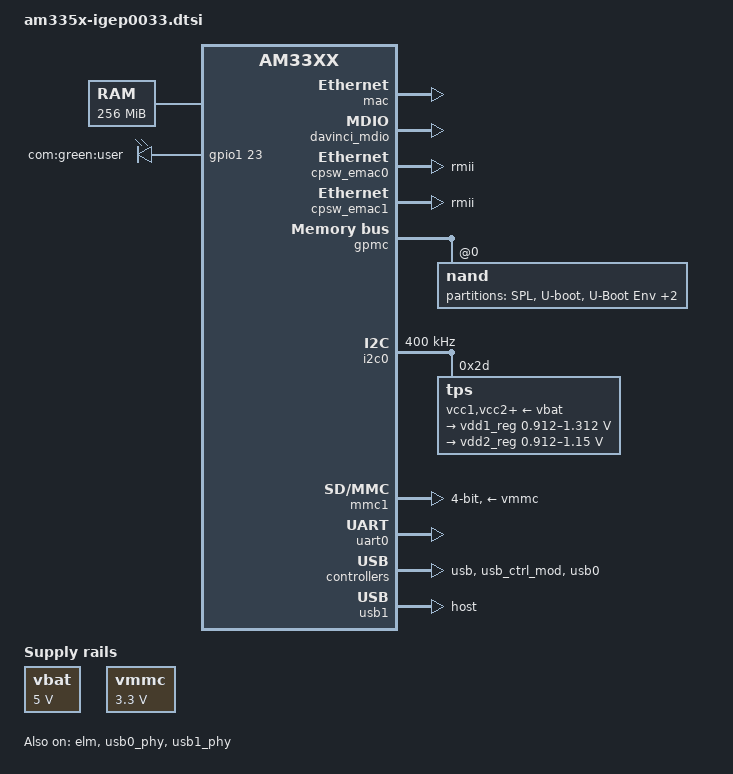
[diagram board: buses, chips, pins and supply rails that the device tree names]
/*
 * am335x-igep0033.dtsi - Device Tree file for IGEP COM AQUILA AM335x
 *
 * Copyright (C) 2013 ISEE 2007 SL - http://www.isee.biz
 *
 * This program is free software; you can redistribute it and/or modify
 * it under the terms of the GNU General Public License version 2 as
 * published by the Free Software Foundation.
 */

/dts-v1/;

#include "am33xx.dtsi"

/ {
	cpus {
		cpu@0 {
			cpu0-supply = <&vdd1_reg>;
		};
	};

	memory {
		device_type = "memory";
		reg = <0x80000000 0x10000000>; /* 256 MB */
	};

	leds {
		pinctrl-names = "default";
		pinctrl-0 = <&leds_pins>;

		compatible = "gpio-leds";

		led@0 {
			label = "com:green:user";
			gpios = <&gpio1 23 GPIO_ACTIVE_HIGH>;
			default-state = "on";
		};
	};

	vbat: fixedregulator@0 {
		compatible = "regulator-fixed";
		regulator-name = "vbat";
		regulator-min-microvolt = <5000000>;
		regulator-max-microvolt = <5000000>;
		regulator-boot-on;
	};

	vmmc: fixedregulator@0 {
		compatible = "regulator-fixed";
		regulator-name = "vmmc";
		regulator-min-microvolt = <3300000>;
		regulator-max-microvolt = <3300000>;
	};
};

&am33xx_pinmux {
	i2c0_pins: pinmux_i2c0_pins {
		pinctrl-single,pins = <
			0x188 (PIN_INPUT_PULLUP | MUX_MODE0)	/* i2c0_sda.i2c0_sda */
			0x18c (PIN_INPUT_PULLUP | MUX_MODE0)	/* i2c0_scl.i2c0_scl */
		>;
	};

	nandflash_pins: pinmux_nandflash_pins {
		pinctrl-single,pins = <
			0x0 (PIN_INPUT_PULLUP | MUX_MODE0)	/* gpmc_ad0.gpmc_ad0 */
			0x4 (PIN_INPUT_PULLUP | MUX_MODE0)	/* gpmc_ad1.gpmc_ad1 */
			0x8 (PIN_INPUT_PULLUP | MUX_MODE0)	/* gpmc_ad2.gpmc_ad2 */
			0xc (PIN_INPUT_PULLUP | MUX_MODE0)	/* gpmc_ad3.gpmc_ad3 */
			0x10 (PIN_INPUT_PULLUP | MUX_MODE0)	/* gpmc_ad4.gpmc_ad4 */
			0x14 (PIN_INPUT_PULLUP | MUX_MODE0)	/* gpmc_ad5.gpmc_ad5 */
			0x18 (PIN_INPUT_PULLUP | MUX_MODE0)	/* gpmc_ad6.gpmc_ad6 */
			0x1c (PIN_INPUT_PULLUP | MUX_MODE0)	/* gpmc_ad7.gpmc_ad7 */
			0x70 (PIN_INPUT_PULLUP | MUX_MODE0)	/* gpmc_wait0.gpmc_wait0 */
			0x74 (PIN_INPUT_PULLUP | MUX_MODE7)	/* gpmc_wpn.gpio0_30 */
			0x7c (PIN_OUTPUT | MUX_MODE0)		/* gpmc_csn0.gpmc_csn0 */
			0x90 (PIN_OUTPUT | MUX_MODE0)		/* gpmc_advn_ale.gpmc_advn_ale */
			0x94 (PIN_OUTPUT | MUX_MODE0)		/* gpmc_oen_ren.gpmc_oen_ren */
			0x98 (PIN_OUTPUT | MUX_MODE0)		/* gpmc_wen.gpmc_wen */
			0x9c (PIN_OUTPUT | MUX_MODE0)		/* gpmc_be0n_cle.gpmc_be0n_cle */
		>;
	};

	uart0_pins: pinmux_uart0_pins {
		pinctrl-single,pins = <
			0x170 (PIN_INPUT_PULLUP | MUX_MODE0)	/* uart0_rxd.uart0_rxd */
			0x174 (PIN_OUTPUT_PULLDOWN | MUX_MODE0)	/* uart0_txd.uart0_txd */
		>;
	};

	leds_pins: pinmux_leds_pins {
		pinctrl-single,pins = <
			0x5c (PIN_OUTPUT_PULLDOWN | MUX_MODE7)	/* gpmc_a7.gpio1_23 */
		>;
	};
};

&mac {
	status = "okay";
};

&davinci_mdio {
	status = "okay";
};

&cpsw_emac0 {
	phy_id = <&davinci_mdio>, <0>;
	phy-mode = "rmii";
};

&cpsw_emac1 {
	phy_id = <&davinci_mdio>, <1>;
	phy-mode = "rmii";
};

&phy_sel {
	rmii-clock-ext;
};

&elm {
	status = "okay";
};

&gpmc {
	status = "okay";
	pinctrl-names = "default";
	pinctrl-0 = <&nandflash_pins>;

	ranges = <0 0 0x08000000 0x1000000>;	/* CS0: 16MB for NAND */

	nand@0,0 {
		reg = <0 0 4>; /* CS0, offset 0, IO size 4 */
		nand-bus-width = <8>;
		ti,nand-ecc-opt = "bch8";
		gpmc,device-width = <1>;
		gpmc,sync-clk-ps = <0>;
		gpmc,cs-on-ns = <0>;
		gpmc,cs-rd-off-ns = <44>;
		gpmc,cs-wr-off-ns = <44>;
		gpmc,adv-on-ns = <6>;
		gpmc,adv-rd-off-ns = <34>;
		gpmc,adv-wr-off-ns = <44>;
		gpmc,we-on-ns = <0>;
		gpmc,we-off-ns = <40>;
		gpmc,oe-on-ns = <0>;
		gpmc,oe-off-ns = <54>;
		gpmc,access-ns = <64>;
		gpmc,rd-cycle-ns = <82>;
		gpmc,wr-cycle-ns = <82>;
		gpmc,wait-on-read = "true";
		gpmc,wait-on-write = "true";
		gpmc,bus-turnaround-ns = <0>;
		gpmc,cycle2cycle-delay-ns = <0>;
		gpmc,clk-activation-ns = <0>;
		gpmc,wait-monitoring-ns = <0>;
		gpmc,wr-access-ns = <40>;
		gpmc,wr-data-mux-bus-ns = <0>;

		#address-cells = <1>;
		#size-cells = <1>;
		elm_id = <&elm>;

		/* MTD partition table */
		partition@0 {
			label = "SPL";
			reg = <0x00000000 0x000080000>;
		};

		partition@1 {
			label = "U-boot";
			reg = <0x00080000 0x001e0000>;
		};

		partition@2 {
			label = "U-Boot Env";
			reg = <0x00260000 0x00020000>;
		};

		partition@3 {
			label = "Kernel";
			reg = <0x00280000 0x00500000>;
		};

		partition@4 {
			label = "File System";
			reg = <0x00780000 0x007880000>;
		};
	};
};

&i2c0 {
	status = "okay";
	pinctrl-names = "default";
	pinctrl-0 = <&i2c0_pins>;

	clock-frequency = <400000>;

	tps: tps@2d {
		reg = <0x2d>;
	};
};

&mmc1 {
	status = "okay";
	vmmc-supply = <&vmmc>;
	bus-width = <4>;
};

&uart0 {
	status = "okay";
	pinctrl-names = "default";
	pinctrl-0 = <&uart0_pins>;
};

&usb {
	status = "okay";
};

&usb_ctrl_mod {
	status = "okay";
};

&usb0_phy {
	status = "okay";
};

&usb1_phy {
	status = "okay";
};

&usb0 {
	status = "okay";
};

&usb1 {
	status = "okay";
	dr_mode = "host";
};

&cppi41dma  {
	status = "okay";
};

#include "tps65910.dtsi"

&tps {
	vcc1-supply = <&vbat>;
	vcc2-supply = <&vbat>;
	vcc3-supply = <&vbat>;
	vcc4-supply = <&vbat>;
	vcc5-supply = <&vbat>;
	vcc6-supply = <&vbat>;
	vcc7-supply = <&vbat>;
	vccio-supply = <&vbat>;

	regulators {
		vrtc_reg: regulator@0 {
			regulator-always-on;
		};

		vio_reg: regulator@1 {
			regulator-always-on;
		};

		vdd1_reg: regulator@2 {
			/* VDD_MPU voltage limits 0.95V - 1.26V with +/-4% tolerance */
			regulator-name = "vdd_mpu";
			regulator-min-microvolt = <912500>;
			regulator-max-microvolt = <1312500>;
			regulator-boot-on;
			regulator-always-on;
		};

		vdd2_reg: regulator@3 {
			/* VDD_CORE voltage limits 0.95V - 1.1V with +/-4% tolerance */
			regulator-name = "vdd_core";
			regulator-min-microvolt = <912500>;
			regulator-max-microvolt = <1150000>;
			regulator-boot-on;
			regulator-always-on;
		};

		vdd3_reg: regulator@4 {
			regulator-always-on;
		};

		vdig1_reg: regulator@5 {
			regulator-always-on;
		};

		vdig2_reg: regulator@6 {
			regulator-always-on;
		};

		vpll_reg: regulator@7 {
			regulator-always-on;
		};

		vdac_reg: regulator@8 {
			regulator-always-on;
		};

		vaux1_reg: regulator@9 {
			regulator-always-on;
		};

		vaux2_reg: regulator@10 {
			regulator-always-on;
		};

		vaux33_reg: regulator@11 {
			regulator-always-on;
		};

		vmmc_reg: regulator@12 {
			regulator-always-on;
		};
	};
};

